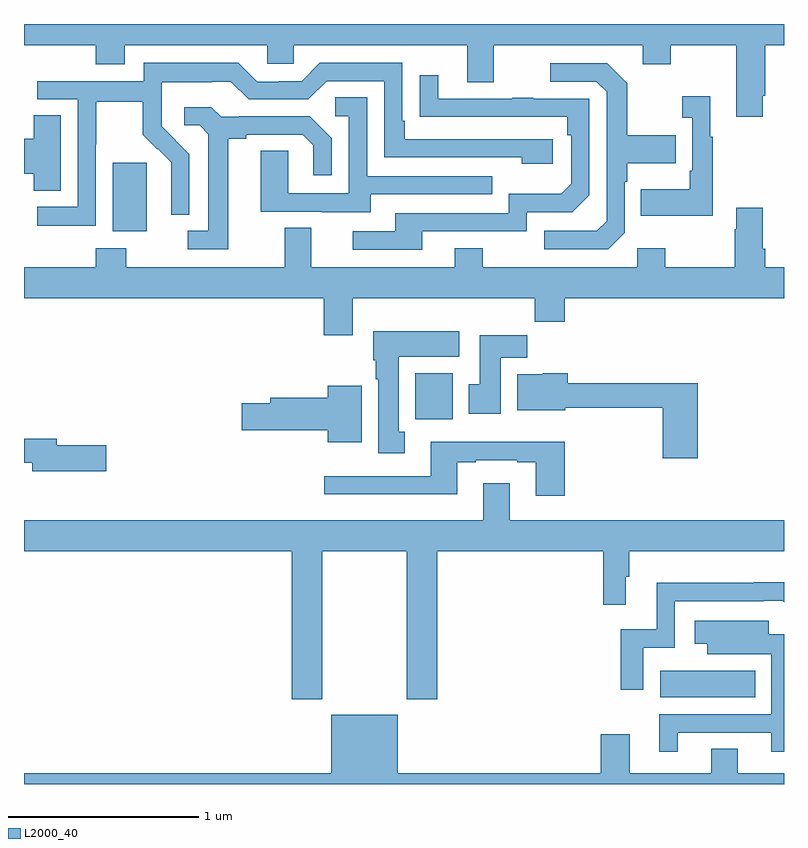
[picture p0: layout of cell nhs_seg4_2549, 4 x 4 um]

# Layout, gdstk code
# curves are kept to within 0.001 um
import gdstk
lib = gdstk.Library(unit=1e-6, precision=1e-09)
def R(c, l, rs):  # rectangles x0, y0, x1, y1
    for r in rs: c.add(gdstk.rectangle(r[:2], r[2:], *l))
def P(c, l, *ps):  # polygons
    for p in ps: c.add(gdstk.Polygon(p, *l))
L2000_40 = (2000, 40)

nhs_seg4_2549 = lib.new_cell('nhs_seg4_2549')
R(nhs_seg4_2549, L2000_40, [(246.348,825.356,246.848,825.496), (245.06,826.82,245.257,827.062), (243.467,827.81,243.646,828.171)])
P(nhs_seg4_2549, L2000_40, [(246.889,828.523),(246.902,828.523),(246.902,828.788),(247,828.788),(247,828.9),(243,828.9),(243,828.788),(243.377,828.788),(243.377,828.689),(243.529,828.689),(243.529,828.788),(244.281,828.788),(244.281,828.69),(244.419,828.69),(244.419,828.788),(245.333,828.788),(245.333,828.594),(245.473,828.594),(245.473,828.788),(246.257,828.788),(246.257,828.689),(246.405,828.689),(246.405,828.788),(246.749,828.788),(246.749,828.411),(246.889,828.411)],
  [(243.378,828.268),(243.381,828.268),(243.381,828.492),(243.625,828.492),(243.625,828.317),(243.702,828.24),(243.705,828.243),(243.776,828.173),(243.776,828.05),(243.774,828.05),(243.774,827.896),(243.87,827.896),(243.87,828.214),(243.724,828.362),(243.724,828.459),(243.726,828.459),(243.726,828.593),(243.989,828.593),(243.989,828.597),(244.089,828.597),(244.182,828.504),(244.497,828.504),(244.593,828.6),(244.896,828.6),(244.896,828.198),(245.621,828.198),(245.621,828.164),(245.782,828.164),(245.782,828.294),(245.005,828.294),(245.005,828.391),(244.992,828.391),(244.992,828.696),(244.557,828.696),(244.461,828.6),(244.343,828.6),(244.343,828.597),(244.227,828.597),(244.127,828.697),(243.63,828.697),(243.63,828.6),(243.069,828.6),(243.069,828.504),(243.282,828.504),(243.282,827.937),(243.069,827.937),(243.069,827.839),(243.378,827.839)],
  [(246.162,827.802),(246.162,828.071),(246.175,828.071),(246.175,828.167),(246.431,828.167),(246.431,828.315),(246.175,828.315),(246.175,828.587),(246.069,828.693),(245.769,828.693),(245.769,828.597),(246.012,828.597),(246.066,828.543),(246.066,827.862),(246.015,827.811),(245.739,827.811),(245.739,827.715),(246.075,827.715)],
  [(245.095,827.808),(245.646,827.808),(245.646,827.91),(245.886,827.91),(245.976,828),(245.976,828.507),(245.681,828.507),(245.681,828.512),(245.569,828.512),(245.569,828.507),(245.179,828.507),(245.179,828.631),(245.083,828.631),(245.083,828.412),(245.86,828.411),(245.86,828.314),(245.88,828.314),(245.88,828.06),(245.827,828.007),(245.55,828.007),(245.55,827.904),(244.955,827.904),(244.955,827.808),(244.731,827.808),(244.731,827.712),(245.095,827.712)],
  [(246.625,828.307),(246.613,828.307),(246.613,828.52),(246.465,828.52),(246.465,828.407),(246.516,828.407),(246.516,828.127),(246.504,828.127),(246.504,828.031),(246.247,828.031),(246.247,827.891),(246.625,827.891)],
  [(244.825,828.003),(245.465,828.003),(245.465,828.099),(244.806,828.099),(244.806,828.515),(244.638,828.515),(244.638,828.414),(244.71,828.414),(244.71,828.009),(244.392,828.009),(244.392,828.233),(244.247,828.233),(244.247,827.913),(244.571,827.913),(244.571,827.909),(244.825,827.909)],
  [(244.075,828.296),(244.171,828.296),(244.171,828.318),(244.466,828.318),(244.523,828.261),(244.523,828.105),(244.62,828.105),(244.62,828.298),(244.504,828.414),(244.132,828.414),(244.132,828.411),(244.038,828.411),(243.986,828.463),(243.843,828.463),(243.843,828.366),(243.924,828.366),(243.971,828.319),(243.971,827.811),(243.861,827.811),(243.861,827.715),(244.075,827.715)],
  [(243.193,828.419),(243.05,828.419),(243.05,828.296),(243,828.296),(243,828.113),(243.05,828.113),(243.05,828.022),(243.193,828.022)],
  [(244.729,827.456),(245.689,827.456),(245.689,827.332),(245.846,827.332),(245.846,827.456),(247,827.456),(247,827.62),(246.902,827.62),(246.902,827.716),(246.889,827.716),(246.889,827.932),(246.749,827.932),(246.749,827.819),(246.742,827.819),(246.742,827.62),(246.375,827.62),(246.375,827.719),(246.228,827.719),(246.228,827.62),(245.415,827.62),(245.415,827.719),(245.267,827.719),(245.267,827.62),(244.513,827.62),(244.513,827.828),(244.373,827.828),(244.373,827.62),(243.537,827.62),(243.537,827.719),(243.377,827.719),(243.377,827.62),(243,827.62),(243,827.456),(244.577,827.456),(244.577,827.262),(244.729,827.262)],
  [(245.005,826.754),(244.972,826.754),(244.972,827.15),(245.29,827.15),(245.29,827.284),(244.838,827.284),(244.838,827.13),(244.85,827.13),(244.85,827.03),(244.865,827.03),(244.865,826.641),(245.005,826.641)],
  [(245.509,827.144),(245.648,827.144),(245.648,827.263),(245.399,827.263),(245.399,827.004),(245.342,827.004),(245.342,826.848),(245.509,826.848)],
  [(246.545,827.008),(245.861,827.008),(245.861,827.062),(245.73,827.062),(245.73,827.056),(245.597,827.056),(245.597,826.868),(245.848,826.868),(245.848,826.879),(246.362,826.879),(246.362,826.614),(246.545,826.614)],
  [(244.777,826.996),(244.598,826.996),(244.598,826.934),(244.295,826.934),(244.295,826.904),(244.146,826.904),(244.146,826.762),(244.598,826.762),(244.598,826.7),(244.777,826.7)],
  [(243.433,826.682),(243.172,826.682),(243.172,826.718),(243,826.718),(243,826.59),(243.044,826.59),(243.044,826.547),(243.433,826.547)],
  [(245.846,826.702),(245.141,826.702),(245.141,826.521),(244.581,826.521),(244.581,826.424),(245.281,826.424),(245.281,826.593),(245.377,826.593),(245.377,826.605),(245.597,826.605),(245.597,826.593),(245.693,826.593),(245.693,826.416),(245.846,826.416)],
  [(246.049,825.843),(246.166,825.843),(246.166,825.992),(246.185,825.992),(246.185,826.124),(247,826.124),(247,826.288),(245.557,826.288),(245.557,826.483),(245.417,826.483),(245.417,826.288),(243,826.288),(243,826.124),(244.409,826.124),(244.409,825.345),(244.569,825.345),(244.569,826.124),(245.014,826.124),(245.014,825.345),(245.174,825.345),(245.174,826.124),(246.049,826.124)],
  [(246.258,825.618),(246.426,825.618),(246.426,825.861),(246.893,825.861),(246.893,825.864),(246.993,825.864),(247,825.857),(247,825.961),(246.841,825.961),(246.841,825.958),(246.329,825.958),(246.329,825.714),(246.142,825.714),(246.142,825.396),(246.258,825.396)],
  [(246.442,825.171),(246.932,825.171),(246.932,825.069),(247,825.069),(247,825.687),(246.919,825.687),(246.919,825.76),(246.531,825.76),(246.531,825.638),(246.596,825.638),(246.596,825.584),(246.933,825.584),(246.933,825.267),(246.344,825.267),(246.344,825.069),(246.442,825.069)],
  [(246.757,825.086),(246.617,825.086),(246.617,824.956),(246.187,824.956),(246.187,825.163),(246.035,825.163),(246.035,824.956),(244.966,824.956),(244.966,825.265),(244.616,825.265),(244.616,824.956),(243,824.956),(243,824.9),(247,824.9),(247,824.956),(246.757,824.956)])

lib.write_gds('nhs_seg4_2549.gds')
